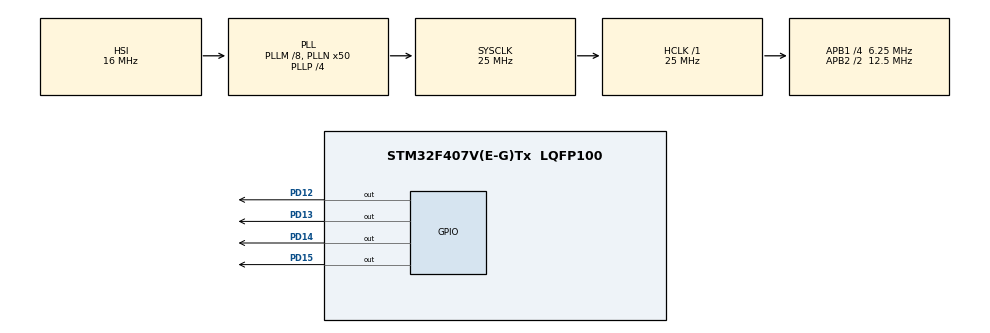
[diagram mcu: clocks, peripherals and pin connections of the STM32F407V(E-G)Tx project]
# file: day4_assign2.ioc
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FREERTOS.INCLUDE_vTaskDelayUntil=1
FREERTOS.Tasks01=defaultTask,-3,128,StartDefaultTask,Default,NULL,Dynamic,NULL,NULL
FREERTOS.configUSE_NEWLIB_REENTRANT=1
Mcu.Family=STM32F4
Mcu.Name=STM32F407V(E-G)Tx
Mcu.Package=LQFP100
NVIC.PriorityGroup=NVIC_PRIORITYGROUP_4
NVIC.TIM1_UP_TIM10_IRQn=true\:15\:0\:false\:false\:true\:false\:false\:true\:true
NVIC.TimeBase=TIM1_UP_TIM10_IRQn
NVIC.TimeBaseIP=TIM1
PD12.Signal=GPIO_Output
PD13.Signal=GPIO_Output
PD14.Signal=GPIO_Output
PD15.Signal=GPIO_Output
ProjectManager.HeapSize=0x200
ProjectManager.StackSize=0x400
ProjectManager.TargetToolchain=STM32CubeIDE
RCC.48MHZClocksFreq_Value=14285714.285714285
RCC.AHBFreq_Value=25000000
RCC.APB1CLKDivider=RCC_HCLK_DIV4
RCC.APB1Freq_Value=6250000
RCC.APB1TimFreq_Value=12500000
RCC.APB2CLKDivider=RCC_HCLK_DIV2
RCC.APB2Freq_Value=12500000
RCC.APB2TimFreq_Value=25000000
RCC.CortexFreq_Value=25000000
RCC.HCLKFreq_Value=25000000
RCC.HSE_VALUE=8000000
RCC.HSI_VALUE=16000000
RCC.LSE_VALUE=32768
RCC.PLLM=8
RCC.PLLN=50
RCC.PLLP=RCC_PLLP_DIV4
RCC.PLLQ=7
RCC.SYSCLKFreq_VALUE=25000000
RCC.SYSCLKSource=RCC_SYSCLKSOURCE_PLLCLK
RCC.VCOOutputFreq_Value=100000000
VP_FREERTOS_VS_CMSIS_V1.Mode=CMSIS_V1
VP_SYS_VS_tim1.Mode=TIM1
board=STM32F407G-DISC1

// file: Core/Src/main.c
/* USER CODE BEGIN Header */
/**
  ******************************************************************************
  * @file           : main.c
  * @brief          : Main program body
  ******************************************************************************
  * @attention
  *
  * Copyright (c) 2024 STMicroelectronics.
  * All rights reserved.
  *
  * This software is licensed under terms that can be found in the LICENSE file
  * in the root directory of this software component.
  * If no LICENSE file comes with this software, it is provided AS-IS.
  *
  ******************************************************************************
  */
/* USER CODE END Header */
#include "main.h"
#include "cmsis_os.h"

osThreadId defaultTaskHandle;

void SystemClock_Config(void);
static void MX_GPIO_Init(void);
void StartDefaultTask(void const * argument);

/* USER CODE BEGIN 0 */
//typedef struct led
//{
//	uint16_t pin;
//	uint16_t delay;
//}led_t;
//
//void vLedTask(void *pvParam)
//{
//	led_t *led1;
//	led1 = (led_t *)pvParam;
//	while(1)
//	{
//		HAL_GPIO_TogglePin(GPIOD,led1->pin );
//		vTaskDelay( led1->delay / portTICK_PERIOD_MS);
//	}
//	vTaskDelete(NULL);
//}
typedef struct led {
	uint16_t pin;
	uint16_t delay;
}param_t;

void vLedTask(void *pvParam)
{
	param_t *l1 = (param_t *)pvParam;
	//uint16_t pin = l1->pin;
	//uint32_t rate = l1->delay;
	while(1)
	{
		portENTER_CRITICAL();
		HAL_GPIO_TogglePin(GPIOD, l1->pin);
		portEXIT_CRITICAL();
		vTaskDelay(l1->delay / portTICK_RATE_MS);
	}
	vTaskDelete(NULL);
}
/* USER CODE END 0 */

int main(void)
{

  /* USER CODE BEGIN 1 */
	//BaseType_t xRet;
	//led_t task1;

  /* USER CODE END 1 */

  /* MCU Configuration--------------------------------------------------------*/

  /* Reset of all peripherals, Initializes the Flash interface and the Systick. */
  HAL_Init();

  /* Configure the system clock */
  SystemClock_Config();

  /* Initialize all configured peripherals */
  MX_GPIO_Init();
  /* USER CODE BEGIN 2 */

//  task1.pin = GPIO_PIN_13;
//  task1.delay = 1000;
//
//  xRet = xTaskCreate(vLedTask, "led 1", configMINIMAL_STACK_SIZE, &task1 , 3, NULL);
//  if(xRet != pdTRUE)
//	  Error_Handler();
  param_t p1 = {GPIO_PIN_12, 1000};
   //xTaskCreate(vLedTask, "LED1", 128, &p1, 3, NULL);

   p1.pin = GPIO_PIN_13;
   p1.delay = 2000;
   xTaskCreate(vLedTask, "LED2", 128, &p1, 2, NULL);

  /* USER CODE END 2 */

  /* Create the thread(s) */
  /* definition and creation of defaultTask */
  osThreadDef(defaultTask, StartDefaultTask, osPriorityIdle, 0, 128);
  defaultTaskHandle = osThreadCreate(osThread(defaultTask), NULL);

  /* Start scheduler */
  osKernelStart();

  /* We should never get here as control is now taken by the scheduler */

  /* Infinite loop */
  while (1)
  {

  }
}

void SystemClock_Config(void)
{
  RCC_OscInitTypeDef RCC_OscInitStruct = {0};
  RCC_ClkInitTypeDef RCC_ClkInitStruct = {0};

  /** Configure the main internal regulator output voltage
  */
  __HAL_RCC_PWR_CLK_ENABLE();
  __HAL_PWR_VOLTAGESCALING_CONFIG(PWR_REGULATOR_VOLTAGE_SCALE1);

  /** Initializes the RCC Oscillators according to the specified parameters
  * in the RCC_OscInitTypeDef structure.
  */
  RCC_OscInitStruct.OscillatorType = RCC_OSCILLATORTYPE_HSI;
  RCC_OscInitStruct.HSIState = RCC_HSI_ON;
  RCC_OscInitStruct.HSICalibrationValue = RCC_HSICALIBRATION_DEFAULT;
  RCC_OscInitStruct.PLL.PLLState = RCC_PLL_ON;
  RCC_OscInitStruct.PLL.PLLSource = RCC_PLLSOURCE_HSI;
  RCC_OscInitStruct.PLL.PLLM = 8;
  RCC_OscInitStruct.PLL.PLLN = 50;
  RCC_OscInitStruct.PLL.PLLP = RCC_PLLP_DIV4;
  RCC_OscInitStruct.PLL.PLLQ = 7;
  if (HAL_RCC_OscConfig(&RCC_OscInitStruct) != HAL_OK)
  {
    Error_Handler();
  }

  /** Initializes the CPU, AHB and APB buses clocks
  */
  RCC_ClkInitStruct.ClockType = RCC_CLOCKTYPE_HCLK|RCC_CLOCKTYPE_SYSCLK
                              |RCC_CLOCKTYPE_PCLK1|RCC_CLOCKTYPE_PCLK2;
  RCC_ClkInitStruct.SYSCLKSource = RCC_SYSCLKSOURCE_PLLCLK;
  RCC_ClkInitStruct.AHBCLKDivider = RCC_SYSCLK_DIV1;
  RCC_ClkInitStruct.APB1CLKDivider = RCC_HCLK_DIV4;
  RCC_ClkInitStruct.APB2CLKDivider = RCC_HCLK_DIV2;

  if (HAL_RCC_ClockConfig(&RCC_ClkInitStruct, FLASH_LATENCY_0) != HAL_OK)
  {
    Error_Handler();
  }
}

static void MX_GPIO_Init(void)
{
  GPIO_InitTypeDef GPIO_InitStruct = {0};

  /* GPIO Ports Clock Enable */
  __HAL_RCC_GPIOD_CLK_ENABLE();

  /*Configure GPIO pin Output Level */
  HAL_GPIO_WritePin(GPIOD, GPIO_PIN_12|GPIO_PIN_13|GPIO_PIN_14|GPIO_PIN_15, GPIO_PIN_RESET);

  /*Configure GPIO pins : PD12 PD13 PD14 PD15 */
  GPIO_InitStruct.Pin = GPIO_PIN_12|GPIO_PIN_13|GPIO_PIN_14|GPIO_PIN_15;
  GPIO_InitStruct.Mode = GPIO_MODE_OUTPUT_PP;
  GPIO_InitStruct.Pull = GPIO_NOPULL;
  GPIO_InitStruct.Speed = GPIO_SPEED_FREQ_LOW;
  HAL_GPIO_Init(GPIOD, &GPIO_InitStruct);

}

void StartDefaultTask(void const * argument)
{
  for(;;)
  {
    osDelay(1);
  }
}

void HAL_TIM_PeriodElapsedCallback(TIM_HandleTypeDef *htim)
{
  if (htim->Instance == TIM1) {
    HAL_IncTick();
  }
}

void Error_Handler(void)
{
  __disable_irq();
  while (1)
  {
  }
}
